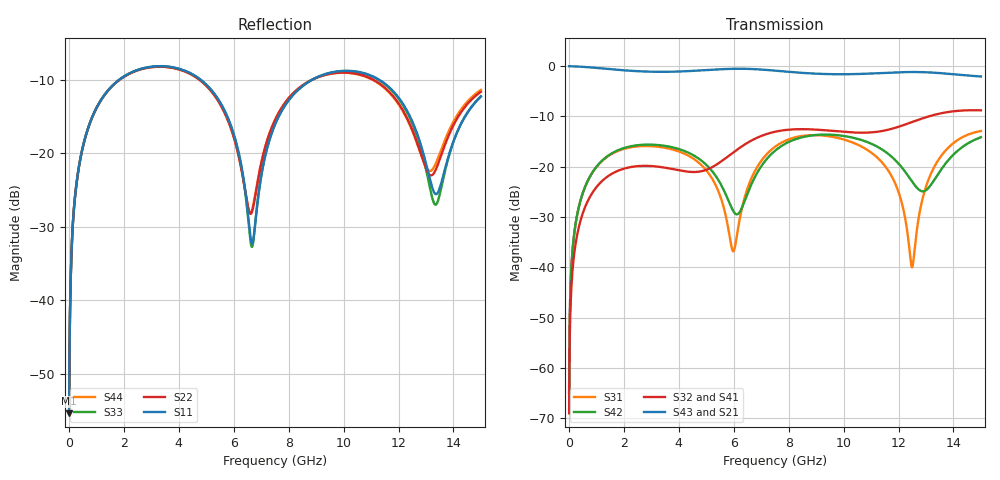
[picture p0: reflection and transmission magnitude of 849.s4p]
! Created with skrf 1.8.0 (http://scikit-rf.org).
# GHz S RI R 50.0
!freq ReS11 ImS11 ReS12 ImS12 ReS13 ImS13
! ReS14 ImS14
! ReS21 ImS21 ReS22 ImS22 ReS23 ImS23
! ReS24 ImS24
! ReS31 ImS31 ReS32 ImS32 ReS33 ImS33
! ReS34 ImS34
! ReS41 ImS41 ReS42 ImS42 ReS43 ImS43
! ReS44 ImS44
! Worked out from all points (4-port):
!   2499 points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, 5 MHz to 15 GHz, reference 50 ohm
!   strongest paths, dB at 5 MHz, 3.476 GHz, 7.19 GHz, 11.1 GHz, 15 GHz:
!     S43: 0.0, -1.1, -0.8, -1.4, -2.1
!     S21: 0.0, -1.1, -0.8, -1.5, -2.1
!     S32: -69.0, -20.2, -13.5, -13.1, -8.8
!     S41: -69.0, -20.2, -13.5, -13.1, -8.8
!     S42: -65.0, -15.8, -18.5, -15.7, -14.1
!     S31: -65.0, -16.2, -17.6, -17.6, -12.9
!   lowest |S11| = -55.4 dB at 5 MHz (marker M1), VSWR 1.00, Z = 50.1 + j0.103 ohm
!   |S11| at or under -10 dB: start of sweep to 1.818 GHz; 4.809 GHz to 8.836 GHz (4.027 GHz wide, 59 % of centre); 11.31 GHz to end of sweep
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0.005  0.00135 0.00103  0.9986 -0.00264  6.79e-05 0.000561  -6.59e-05 -0.000347
       0.9986 -0.00264  0.00135 0.00103  -6.59e-05 -0.000347  6.81e-05 0.000561
       6.79e-05 0.000561  -6.59e-05 -0.000347  0.00135 0.00103  0.9986 -0.00264
       -6.59e-05 -0.000347  6.81e-05 0.000561  0.9986 -0.00264  0.00135 0.00103
0.3626511  0.0218 0.0783  0.9701 -0.1902  0.0102 0.0389  -0.00868 -0.0238
           0.9701 -0.1902  0.0217 0.0783  -0.00867 -0.0238  0.0108 0.0387
           0.0102 0.0389  -0.00867 -0.0238  0.0218 0.0783  0.9701 -0.1902
           -0.00868 -0.0238  0.0108 0.0387  0.9701 -0.1902  0.0217 0.0783
1.825761  0.2608 0.1803  0.5699 -0.7178  0.1256 0.0725  -0.0916 -0.00952
          0.5699 -0.7178  0.2582 0.1819  -0.0916 -0.00953  0.1335 0.0624
          0.1256 0.0725  -0.0916 -0.00953  0.2607 0.1803  0.57 -0.7178
          -0.0916 -0.00952  0.1335 0.0624  0.57 -0.7178  0.2581 0.1819
6.583993  0.0236 -0.0178  -0.9331 -0.0874  0.0221 0.0665  -0.0126 0.1777
          -0.9331 -0.0874  0.0385 -0.00786  -0.0127 0.1777  -0.021 0.0578
          0.0221 0.0665  -0.0127 0.1777  0.0225 -0.0164  -0.9332 -0.0874
          -0.0126 0.1777  -0.021 0.0578  -0.9332 -0.0874  0.0392 -0.00636
10.58566  0.3485 -0.0816  0.0998 0.8289  0.1457 -0.0711  0.1981 -0.0909
          0.0998 0.8289  0.3369 -0.0727  0.1981 -0.0907  0.1373 -0.1263
          0.1457 -0.0711  0.1981 -0.0907  0.3465 -0.0813  0.0985 0.8299
          0.1981 -0.0909  0.1373 -0.1263  0.0985 0.8299  0.3354 -0.071
12.49271  0.1013 -0.1324  0.7385 0.4652  0.00982 0.00188  0.1398 -0.2399
          0.7385 0.4652  0.1059 -0.101  0.1407 -0.2396  -0.0528 -0.0481
          0.00982 0.00188  0.1407 -0.2396  0.0951 -0.1307  0.7384 0.4666
          0.1398 -0.2399  -0.0528 -0.0481  0.7384 0.4666  0.1079 -0.0947
15  0.2096 0.1252  0.6397 -0.4621  0.212 0.0793  -0.2618 -0.2488
    0.6397 -0.4621  0.235 0.1174  -0.2629 -0.2509  0.1829 0.0712
    0.212 0.0793  -0.2629 -0.2509  0.2033 0.136  0.6408 -0.4587
    -0.2618 -0.2488  0.1829 0.0712  0.6408 -0.4587  0.2449 0.1153
